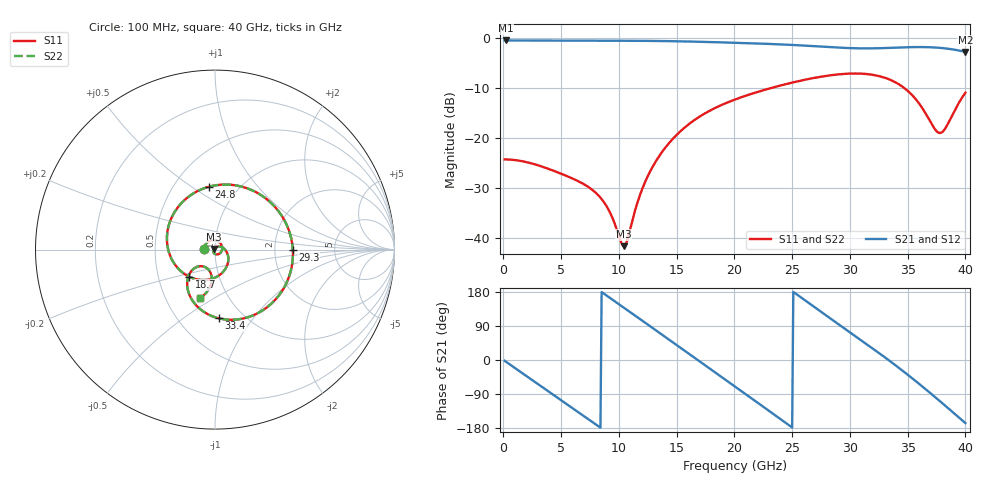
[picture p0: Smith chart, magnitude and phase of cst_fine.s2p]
! C_s8_mixed: L1→L8, antipad Ø1.2 on L2/L7, Ø0.8 on L4/L5
! stackup: 8-layer 1.6 mm FR-4 (generic)
! ports: 1, 2
! CST Studio Suite 2025.5 Release from 2025-05-30, time domain (FIT, hexahedral, PBA), 386496 mesh cells, 72 s
! mesh: {'lpw': 30.0, 'lpb': 30.0, 'minstep': 0.0, 'ratio': 20}; ports: port 1 (face); port 2 (face)
! interpolated from CST's 1001 samples to the case grid
# Hz S RI R 50
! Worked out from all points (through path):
!   400 points, 100 MHz to 40 GHz, reference 50 ohm
!   highest |S21| = -0.54 dB at 200 MHz (marker M1); lowest = -2.8 dB at 40 GHz (marker M2)
!   group delay of S21, straight-line fit = 60.7 ps
!   lowest |S11| = -41.6 dB at 10.4 GHz (marker M3), VSWR 1.02, Z = 49.3 + j0.382 ohm
!   |S11| at or under -10 dB: start of sweep to 23.25 GHz; 34.68 GHz to end of sweep
!   |S22| runs from -41.6 to -7.1 dB; largest |S21 - S12| = 2e-07
!   S11 on the Smith chart (normalised r, x): 100 MHz: 0.89, +0.01; 18.7 GHz: 0.72, -0.23; 24.8 GHz: 0.73, +0.59; 29.3 GHz: 2.53, -0.01; 33.4 GHz: 0.77, -0.70; 40 GHz: 0.74, -0.44
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1e8  -0.0609 0.00301  0.9386 -0.0349  0.9386 -0.0349  -0.0609 0.00301
2e8  -0.0607 0.00601  0.9366 -0.0698  0.9366 -0.0698  -0.0607 0.00601
1.8e9  -0.0362 0.0453  0.7362 -0.5818  0.7362 -0.5818  -0.0362 0.0453
3.7e9  0.016 0.0474  0.1833 -0.918  0.1833 -0.918  0.016 0.0474
5.2e9  0.0395 0.0168  -0.328 -0.875  -0.328 -0.875  0.0395 0.0168
6.8e9  0.0305 -0.0178  -0.7602 -0.5417  -0.7602 -0.5417  0.0305 -0.0178
8.6e9  -0.000747 -0.0237  -0.932 0.0465  -0.932 0.0465  -0.000751 -0.0237
1.04e10  -0.00734 0.00387  -0.7001 0.6163  -0.7001 0.6163  -0.00734 0.00388
1.34e10  0.0629 -0.00985  0.255 0.8921  0.255 0.8921  0.0629 -0.00985
1.62e10  0.0304 -0.1378  0.8906 0.2132  0.8906 0.2132  0.0304 -0.1378
1.87e10  -0.1432 -0.1513  0.6822 -0.5871  0.6822 -0.5871  -0.1432 -0.1513
2.01e10  -0.2331 -0.0681  0.2884 -0.8421  0.2884 -0.8421  -0.2331 -0.0681
2.22e10  -0.2563 0.1401  -0.3943 -0.7802  -0.3943 -0.7802  -0.2563 0.14
2.48e10  -0.0345 0.3501  -0.8445 -0.0926  -0.8445 -0.0926  -0.0345 0.3501
2.67e10  0.2255 0.3216  -0.6736 0.4782  -0.6736 0.4782  0.2255 0.3216
2.93e10  0.4336 -0.00177  0.0243 0.7933  0.0243 0.7933  0.4336 -0.00177
3.12e10  0.3324 -0.2828  0.5307 0.5753  0.5307 0.5753  0.3324 -0.2828
3.34e10  0.0227 -0.3832  0.7912 -0.0187  0.7912 -0.0187  0.0227 -0.3832
3.5e10  -0.1388 -0.2603  0.6271 -0.5028  0.6271 -0.5028  -0.1388 -0.2603
3.69e10  -0.1103 -0.1012  0.0604 -0.8015  0.0604 -0.8015  -0.1103 -0.1012
3.8e10  -0.0409 -0.1068  -0.32 -0.7203  -0.32 -0.7203  -0.0409 -0.1068
4e10  -0.0814 -0.2705  -0.7022 -0.1695  -0.7022 -0.1695  -0.0814 -0.2705
